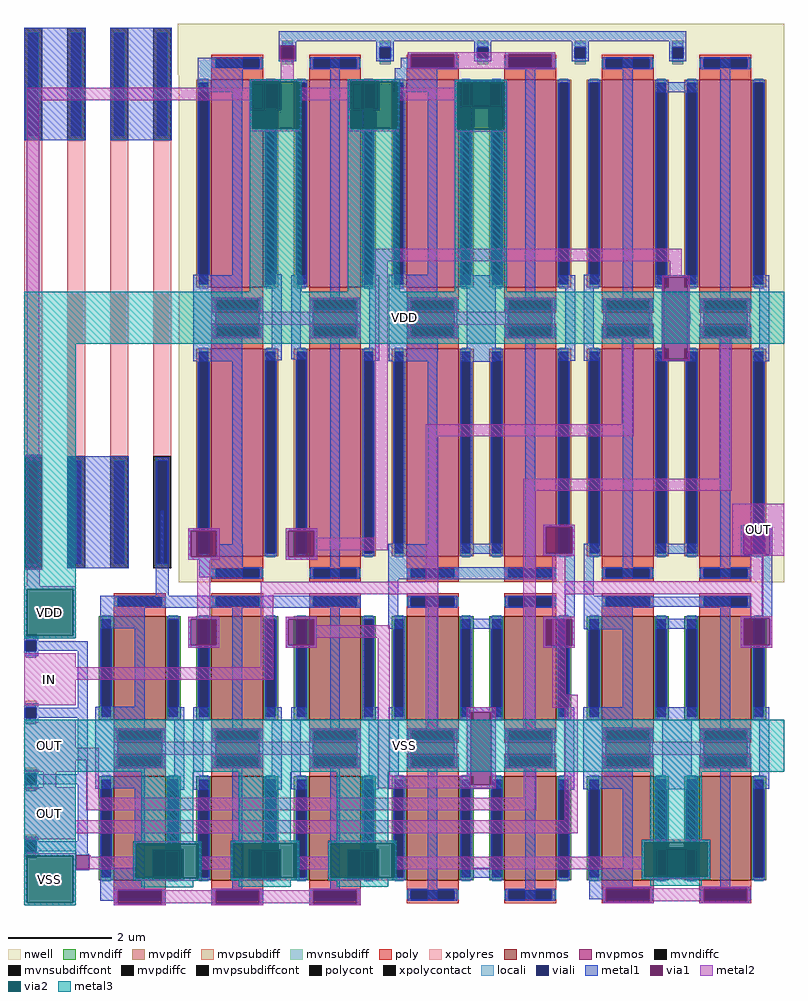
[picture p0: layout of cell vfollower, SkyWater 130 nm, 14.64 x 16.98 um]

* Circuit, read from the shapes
.subckt vfollower VDD OUT IN VSS
XM1 VSS n1 n1 VSS sky130_fd_pr__nfet_g5v0d10v5 w=2 l=1 m=2
XM2 VSS n1 n2 VSS sky130_fd_pr__nfet_g5v0d10v5 w=2 l=1 m=2
XM3 VSS n1 n3 VSS sky130_fd_pr__nfet_g5v0d10v5 w=2 l=1 m=2
XM4 n3 IN n4 VSS sky130_fd_pr__nfet_g5v0d10v5 w=2 l=1 m=2
XM5 OUT OUT n3 VSS sky130_fd_pr__nfet_g5v0d10v5 w=2 l=1 m=2
XM6 VSS n5 n5 VSS sky130_fd_pr__nfet_g5v0d10v5 w=2 l=1 m=2
XM7 OUT n5 VSS VSS sky130_fd_pr__nfet_g5v0d10v5 w=2 l=1 m=2
XM8 VDD n2 n2 VDD sky130_fd_pr__pfet_g5v0d10v5 w=4 l=1 m=2
XM9 VDD n2 n6 VDD sky130_fd_pr__pfet_g5v0d10v5 w=4 l=1 m=2
XM10 VDD n4 n4 VDD sky130_fd_pr__pfet_g5v0d10v5 w=4 l=1 m=2
XM11 OUT n4 VDD VDD sky130_fd_pr__pfet_g5v0d10v5 w=4 l=1 m=2
XM12 n6 IN n5 VDD sky130_fd_pr__pfet_g5v0d10v5 w=4 l=1 m=2
XM13 OUT OUT n6 VDD sky130_fd_pr__pfet_g5v0d10v5 w=4 l=1 m=2
XR14 n7 VDD VSS sky130_fd_pr__res_xhigh_po w=0.35 l=6.09
XR15 n7 n8 VSS sky130_fd_pr__res_xhigh_po w=0.35 l=6.09
XR16 n9 n8 VSS sky130_fd_pr__res_xhigh_po w=0.35 l=6.09
XR17 n9 n1 VSS sky130_fd_pr__res_xhigh_po w=0.35 l=6.09
.ends

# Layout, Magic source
magic
tech sky130A
magscale 1 2
<< metal2 >>
rect 3096 148 3296 348
rect 3166 107 3216 148
rect 3165 71 3216 107
rect 3165 51 3215 71
rect 368 20 568 30
rect 368 -160 378 20
rect 558 -160 568 20
rect 368 -170 568 -160
rect 2405 1 3215 51
rect 368 -428 568 -228
rect 2405 -387 2455 1
rect 2405 -437 2501 -387
rect 368 -684 568 -484
rect 443 -744 493 -684
rect 368 -862 568 -744
rect 368 -871 566 -862
rect 2451 -871 2501 -437
rect 368 -921 2501 -871
rect 368 -944 566 -921
rect 368 -1008 568 -998
rect 368 -1188 378 -1008
rect 558 -1188 568 -1008
rect 368 -1198 568 -1188
<< via2 >>
rect 378 -160 558 20
rect 378 -1188 558 -1008
<< metal3 >>
rect 368 966 3296 1166
rect 368 20 568 966
rect 368 -160 378 20
rect 558 -160 568 20
rect 368 -170 568 -160
rect 368 -684 3296 -484
rect 368 -1008 568 -684
rect 368 -1188 378 -1008
rect 558 -1188 568 -1008
rect 368 -1198 568 -1188
use opamp  opamp_0
transform 1 0 -2836 0 1 478
box 3204 -1676 6132 1720
<< labels >>
flabel metal2 368 -1198 568 -998 0 FreeSans 256 0 0 0 VSS
port 3 nsew
flabel metal2 368 -170 568 30 0 FreeSans 256 0 0 0 VDD
port 0 nsew
flabel metal2 368 -428 568 -228 0 FreeSans 256 0 0 0 IN
port 2 nsew
flabel metal2 3096 148 3296 348 0 FreeSans 256 0 0 0 OUT
port 1 nsew
flabel metal3 368 966 3296 1166 0 FreeSans 256 0 0 0 VDD
port 0 nsew
flabel metal2 368 -684 568 -484 0 FreeSans 256 0 0 0 OUT
port 1 nsew
flabel metal2 368 -944 568 -744 0 FreeSans 256 0 0 0 OUT
port 1 nsew
flabel metal3 368 -684 3296 -484 0 FreeSans 256 0 0 0 VSS
port 3 nsew
<< end >>

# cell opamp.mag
magic
tech sky130A
magscale 1 2
<< nwell >>
rect 3796 1524 6132 1720
rect 3800 -432 6132 1524
<< mvndiff >>
rect 5654 -606 5666 -562
<< mvpsubdiff >>
rect 3210 -656 3252 -632
rect 3210 -722 3252 -698
rect 3210 -913 3252 -889
rect 3210 -979 3252 -955
rect 3210 -1170 3252 -1146
rect 3210 -1236 3252 -1212
rect 3210 -1428 3252 -1404
rect 3210 -1494 3252 -1470
<< mvnsubdiff >>
rect 4198 1630 4240 1654
rect 4198 1564 4240 1588
rect 4574 1630 4616 1654
rect 4574 1564 4616 1588
rect 4950 1630 4992 1654
rect 4950 1564 4992 1588
rect 5326 1630 5368 1654
rect 5326 1564 5368 1588
rect 5702 1630 5744 1654
rect 5702 1564 5744 1588
<< mvpsubdiffcont >>
rect 3210 -698 3252 -656
rect 3210 -955 3252 -913
rect 3210 -1212 3252 -1170
rect 3210 -1470 3252 -1428
<< mvnsubdiffcont >>
rect 4198 1588 4240 1630
rect 4574 1588 4616 1630
rect 4950 1588 4992 1630
rect 5326 1588 5368 1630
rect 5702 1588 5744 1630
<< locali >>
rect 4198 1630 4240 1646
rect 4198 1572 4240 1588
rect 4574 1630 4616 1646
rect 4574 1572 4616 1588
rect 4950 1630 4992 1646
rect 4950 1572 4992 1588
rect 5326 1630 5368 1646
rect 5326 1572 5368 1588
rect 5702 1630 5744 1646
rect 5702 1572 5744 1588
rect 3210 -656 3252 -640
rect 3210 -714 3252 -698
rect 3210 -913 3252 -897
rect 3210 -971 3252 -955
rect 3210 -1170 3252 -1154
rect 3210 -1228 3252 -1212
rect 3210 -1428 3252 -1412
rect 3210 -1486 3252 -1470
<< viali >>
rect 4198 1588 4240 1630
rect 4574 1588 4616 1630
rect 4950 1588 4992 1630
rect 5326 1588 5368 1630
rect 5702 1588 5744 1630
rect 3210 -698 3252 -656
rect 3210 -955 3252 -913
rect 3210 -1212 3252 -1170
rect 3210 -1470 3252 -1428
<< metal1 >>
rect 3204 1272 3442 1704
rect 3536 1272 3774 1704
rect 4186 1653 5756 1691
rect 4186 1636 4252 1653
rect 3874 1458 4046 1590
rect 4186 1584 4193 1636
rect 4245 1584 4252 1636
rect 4562 1630 4628 1653
rect 4562 1588 4574 1630
rect 4616 1588 4628 1630
rect 4938 1630 5004 1653
rect 4682 1603 4874 1610
rect 4682 1590 4694 1603
rect 4186 1576 4252 1584
rect 4074 1500 4194 1506
rect 3857 752 3915 753
rect 4007 752 4045 1458
rect 4074 1392 4080 1500
rect 4188 1392 4194 1500
rect 4074 1386 4194 1392
rect 3857 664 4045 752
rect 4136 717 4197 755
rect 3857 658 4126 664
rect 3857 514 3942 658
rect 4110 514 4126 658
rect 3857 508 4126 514
rect 3857 420 4045 508
rect 4159 461 4197 717
rect 4139 423 4197 461
rect 4233 714 4292 752
rect 4233 465 4271 714
rect 4383 664 4421 1585
rect 4562 1576 4628 1588
rect 4656 1551 4694 1590
rect 4862 1551 4874 1603
rect 4938 1588 4950 1630
rect 4992 1588 5004 1630
rect 5314 1630 5380 1653
rect 4938 1576 5004 1588
rect 5058 1603 5250 1610
rect 4656 1548 4874 1551
rect 4632 1544 4874 1548
rect 5058 1551 5070 1603
rect 5238 1551 5250 1603
rect 5314 1588 5326 1630
rect 5368 1588 5380 1630
rect 5314 1576 5380 1588
rect 5690 1630 5756 1653
rect 5690 1588 5702 1630
rect 5744 1588 5756 1630
rect 5058 1544 5250 1551
rect 4452 1500 4572 1506
rect 4452 1392 4458 1500
rect 4566 1392 4572 1500
rect 4632 1458 4797 1544
rect 4452 1386 4572 1392
rect 4759 754 4797 1458
rect 4886 1498 5048 1504
rect 4886 1402 4892 1498
rect 5042 1402 5048 1498
rect 4886 1396 5048 1402
rect 4610 753 4797 754
rect 4512 714 4573 752
rect 4302 658 4502 664
rect 4302 514 4318 658
rect 4486 514 4502 658
rect 4302 508 4502 514
rect 4233 427 4291 465
rect 3857 419 3916 420
rect 3204 54 3274 60
rect 3370 -378 3608 54
rect 3731 -360 3743 -156
rect 3836 -234 3958 -224
rect 3836 -334 3846 -234
rect 3946 -286 3958 -234
rect 4007 -286 4045 420
rect 4212 -234 4334 -224
rect 3946 -334 4046 -286
rect 3836 -344 4046 -334
rect 4212 -334 4222 -234
rect 4322 -334 4334 -234
rect 4212 -344 4334 -334
rect 3204 -384 3274 -378
rect 3712 -484 3762 -360
rect 3880 -412 4046 -344
rect 4007 -415 4045 -412
rect 4383 -415 4421 508
rect 4535 459 4573 714
rect 4515 421 4573 459
rect 4609 664 4797 753
rect 4888 715 5044 752
rect 4888 714 5021 715
rect 4609 657 4874 664
rect 4609 515 4694 657
rect 4862 515 4874 657
rect 4609 508 4874 515
rect 4609 422 4798 508
rect 4909 459 5021 714
rect 5135 664 5173 1544
rect 5264 714 5327 752
rect 5058 657 5250 664
rect 5058 515 5070 657
rect 5238 515 5250 657
rect 5058 508 5250 515
rect 4909 457 5045 459
rect 4609 421 4797 422
rect 4610 420 4797 421
rect 4607 -286 4668 -284
rect 4759 -286 4797 420
rect 4885 421 5045 457
rect 4885 419 5020 421
rect 4910 418 5020 419
rect 4607 -374 4798 -286
rect 4888 -322 5041 -284
rect 5135 -374 5173 508
rect 5289 459 5327 714
rect 5265 421 5327 459
rect 5361 715 5420 753
rect 5361 459 5399 715
rect 5511 662 5549 1587
rect 5690 1576 5756 1588
rect 5640 1456 5795 1494
rect 5731 751 5796 752
rect 5637 744 5796 751
rect 5637 713 5668 744
rect 5436 657 5624 662
rect 5436 515 5446 657
rect 5614 515 5624 657
rect 5436 510 5624 515
rect 5361 421 5421 459
rect 5204 -218 5326 -210
rect 5204 -322 5214 -218
rect 5316 -322 5326 -218
rect 5204 -330 5326 -322
rect 4607 -420 5250 -374
rect 3498 -530 4502 -484
rect 3498 -608 3670 -530
rect 3204 -656 3258 -640
rect 3204 -698 3210 -656
rect 3252 -658 3258 -656
rect 3252 -696 3449 -658
rect 3252 -698 3258 -696
rect 3204 -716 3258 -698
rect 3212 -723 3250 -716
rect 3204 -913 3258 -897
rect 3204 -955 3210 -913
rect 3252 -915 3258 -913
rect 3411 -915 3449 -696
rect 3631 -912 3670 -608
rect 3836 -574 3956 -564
rect 3836 -674 3846 -574
rect 3946 -674 3956 -574
rect 3836 -684 3956 -674
rect 3480 -913 3670 -912
rect 3252 -953 3449 -915
rect 3252 -955 3258 -953
rect 3204 -973 3258 -955
rect 3212 -979 3250 -973
rect 3204 -1170 3258 -1154
rect 3204 -1212 3210 -1170
rect 3252 -1172 3258 -1170
rect 3411 -1172 3449 -953
rect 3252 -1210 3449 -1172
rect 3252 -1212 3258 -1210
rect 3204 -1230 3258 -1212
rect 3212 -1236 3250 -1230
rect 3204 -1428 3258 -1412
rect 3204 -1470 3210 -1428
rect 3252 -1430 3258 -1428
rect 3411 -1430 3449 -1210
rect 3479 -994 3670 -913
rect 3760 -951 3821 -913
rect 3479 -1000 3750 -994
rect 3479 -1142 3566 -1000
rect 3734 -1142 3750 -1000
rect 3479 -1148 3750 -1142
rect 3479 -1226 3670 -1148
rect 3783 -1193 3821 -951
rect 3479 -1228 3540 -1226
rect 3252 -1468 3449 -1430
rect 3252 -1470 3258 -1468
rect 3204 -1488 3258 -1470
rect 3404 -1478 3449 -1468
rect 3404 -1484 3456 -1478
rect 3212 -1494 3250 -1488
rect 3631 -1532 3670 -1226
rect 3761 -1231 3821 -1193
rect 3857 -952 3916 -914
rect 3857 -1193 3895 -952
rect 4007 -994 4045 -530
rect 4212 -574 4332 -564
rect 4212 -674 4222 -574
rect 4322 -674 4332 -574
rect 4212 -684 4332 -674
rect 4136 -952 4197 -914
rect 3926 -1000 4126 -994
rect 3926 -1142 3942 -1000
rect 4110 -1142 4126 -1000
rect 3926 -1148 4126 -1142
rect 3857 -1231 3917 -1193
rect 3404 -1542 3456 -1536
rect 3498 -1612 3670 -1532
rect 3698 -1466 3818 -1460
rect 3698 -1574 3704 -1466
rect 3812 -1574 3818 -1466
rect 3698 -1580 3818 -1574
rect 4007 -1612 4045 -1148
rect 4159 -1193 4197 -952
rect 4137 -1231 4197 -1193
rect 4233 -951 4292 -913
rect 4233 -1191 4271 -951
rect 4383 -994 4421 -530
rect 4607 -573 4645 -420
rect 4607 -611 4667 -573
rect 4512 -952 4571 -914
rect 4302 -1000 4502 -994
rect 4302 -1142 4318 -1000
rect 4486 -1142 4502 -1000
rect 4302 -1148 4502 -1142
rect 4233 -1229 4291 -1191
rect 4074 -1466 4194 -1460
rect 4074 -1574 4080 -1466
rect 4188 -1574 4194 -1466
rect 4074 -1580 4194 -1574
rect 4383 -1612 4421 -1148
rect 4533 -1191 4571 -952
rect 4513 -1229 4571 -1191
rect 4609 -951 4669 -913
rect 4609 -1190 4647 -951
rect 4759 -994 4797 -488
rect 4888 -610 5045 -572
rect 4888 -932 5044 -914
rect 4888 -952 4925 -932
rect 4682 -1000 4874 -994
rect 4682 -1142 4694 -1000
rect 4862 -1142 4874 -1000
rect 4682 -1148 4874 -1142
rect 4609 -1228 4668 -1190
rect 4450 -1466 4570 -1460
rect 4450 -1574 4456 -1466
rect 4564 -1574 4570 -1466
rect 4450 -1580 4570 -1574
rect 3498 -1618 3750 -1612
rect 3498 -1658 3566 -1618
rect 3550 -1670 3566 -1658
rect 3734 -1670 3750 -1618
rect 3550 -1676 3750 -1670
rect 3926 -1618 4126 -1612
rect 3926 -1670 3942 -1618
rect 4110 -1670 4126 -1618
rect 3926 -1676 4126 -1670
rect 4302 -1618 4502 -1612
rect 4302 -1670 4318 -1618
rect 4486 -1670 4502 -1618
rect 4759 -1653 4797 -1148
rect 4909 -1191 4925 -952
rect 4889 -1212 4925 -1191
rect 5005 -952 5044 -932
rect 5005 -1189 5021 -952
rect 5135 -994 5173 -489
rect 5288 -564 5326 -330
rect 5204 -574 5326 -564
rect 5204 -676 5214 -574
rect 5316 -676 5326 -574
rect 5361 -321 5420 -283
rect 5361 -484 5399 -321
rect 5511 -413 5549 510
rect 5661 458 5668 713
rect 5640 428 5668 458
rect 5762 714 5796 744
rect 5762 604 5769 714
rect 5887 657 5925 1583
rect 6016 714 6075 752
rect 5762 566 5771 604
rect 5762 457 5769 566
rect 5762 428 5791 457
rect 5640 420 5791 428
rect 5731 419 5791 420
rect 5640 -322 5795 -284
rect 5887 -415 5925 515
rect 6037 457 6075 714
rect 6017 419 6075 457
rect 5966 -220 6086 -212
rect 5966 -324 5976 -220
rect 6078 -324 6086 -220
rect 5966 -332 6086 -324
rect 5361 -488 5550 -484
rect 5361 -526 5927 -488
rect 5361 -611 5550 -526
rect 5640 -610 5795 -572
rect 5362 -612 5550 -611
rect 5204 -684 5326 -676
rect 5511 -914 5549 -612
rect 5264 -952 5323 -914
rect 5058 -1000 5250 -994
rect 5058 -1142 5070 -1000
rect 5238 -1142 5250 -1000
rect 5058 -1148 5250 -1142
rect 5005 -1212 5043 -1189
rect 4889 -1227 5043 -1212
rect 4889 -1228 5020 -1227
rect 4888 -1570 5043 -1532
rect 5135 -1654 5173 -1148
rect 5285 -1193 5323 -952
rect 5265 -1231 5323 -1193
rect 5359 -992 5549 -914
rect 5640 -952 5796 -914
rect 5359 -1000 5626 -992
rect 5359 -1142 5446 -1000
rect 5614 -1142 5626 -1000
rect 5359 -1148 5626 -1142
rect 5359 -1228 5549 -1148
rect 5663 -1191 5776 -952
rect 5887 -994 5925 -526
rect 6047 -562 6086 -332
rect 5966 -570 6086 -562
rect 5966 -674 5976 -570
rect 6078 -674 6086 -570
rect 5966 -684 6086 -674
rect 6016 -952 6075 -914
rect 5810 -1000 6002 -994
rect 5810 -1142 5822 -1000
rect 5990 -1142 6002 -1000
rect 5810 -1148 6002 -1142
rect 5663 -1193 5795 -1191
rect 5359 -1229 5419 -1228
rect 5382 -1534 5420 -1532
rect 5511 -1534 5549 -1228
rect 5643 -1229 5795 -1193
rect 5643 -1230 5776 -1229
rect 5636 -1460 5800 -1454
rect 5382 -1604 5550 -1534
rect 5636 -1568 5642 -1460
rect 5794 -1568 5800 -1460
rect 5636 -1574 5800 -1568
rect 5887 -1604 5925 -1148
rect 6037 -1189 6075 -952
rect 6017 -1227 6075 -1189
rect 5382 -1610 5620 -1604
rect 5382 -1653 5446 -1610
rect 5440 -1662 5446 -1653
rect 5614 -1662 5620 -1610
rect 5440 -1668 5620 -1662
rect 5816 -1610 5996 -1604
rect 5816 -1662 5822 -1610
rect 5990 -1662 5996 -1610
rect 5816 -1668 5996 -1662
rect 4302 -1676 4502 -1670
<< via1 >>
rect 4193 1630 4245 1636
rect 4193 1588 4198 1630
rect 4198 1588 4240 1630
rect 4240 1588 4245 1630
rect 4193 1584 4245 1588
rect 4080 1392 4188 1500
rect 3942 514 4110 658
rect 4694 1551 4862 1603
rect 5070 1551 5238 1603
rect 4458 1392 4566 1500
rect 4892 1402 5042 1498
rect 4318 514 4486 658
rect 3204 -378 3274 54
rect 3846 -334 3946 -234
rect 4222 -334 4322 -234
rect 4694 515 4862 657
rect 5070 515 5238 657
rect 5446 515 5614 657
rect 5214 -322 5316 -218
rect 3846 -674 3946 -574
rect 3566 -1142 3734 -1000
rect 3404 -1536 3456 -1484
rect 4222 -674 4322 -574
rect 3942 -1142 4110 -1000
rect 3704 -1574 3812 -1466
rect 4318 -1142 4486 -1000
rect 4080 -1574 4188 -1466
rect 4694 -1142 4862 -1000
rect 4456 -1574 4564 -1466
rect 3566 -1670 3734 -1618
rect 3942 -1670 4110 -1618
rect 4318 -1670 4486 -1618
rect 4925 -1212 5005 -932
rect 5214 -676 5316 -574
rect 5668 428 5762 744
rect 5822 515 5990 657
rect 5976 -324 6078 -220
rect 5070 -1142 5238 -1000
rect 5446 -1142 5614 -1000
rect 5976 -674 6078 -570
rect 5822 -1142 5990 -1000
rect 5642 -1568 5794 -1460
rect 5446 -1662 5614 -1610
rect 5822 -1662 5990 -1610
<< metal2 >>
rect 4187 1584 4193 1636
rect 4245 1584 4251 1636
rect 4682 1603 5250 1610
rect 4194 1506 4244 1584
rect 4682 1551 4694 1603
rect 4862 1551 5070 1603
rect 5238 1551 5250 1603
rect 4682 1546 5250 1551
rect 4074 1500 4274 1506
rect 4074 1474 4080 1500
rect 4188 1496 4274 1500
rect 3214 1426 4080 1474
rect 3214 60 3262 1426
rect 4074 1392 4080 1426
rect 4264 1474 4274 1496
rect 4452 1500 4652 1506
rect 4452 1474 4458 1500
rect 4566 1496 4652 1500
rect 4264 1426 4458 1474
rect 4074 1316 4084 1392
rect 4264 1316 4274 1426
rect 4074 1306 4274 1316
rect 4452 1392 4458 1426
rect 4642 1474 4652 1496
rect 4864 1498 5064 1504
rect 4864 1494 4892 1498
rect 5042 1494 5064 1498
rect 4864 1474 4874 1494
rect 4642 1426 4874 1474
rect 4452 1316 4462 1392
rect 4642 1316 4652 1426
rect 4452 1306 4652 1316
rect 4864 1314 4874 1426
rect 5054 1314 5064 1494
rect 4864 1304 5064 1314
rect 4558 806 5739 854
rect 3926 658 4126 664
rect 3926 514 3942 658
rect 4110 611 4126 658
rect 4302 658 4502 664
rect 4302 611 4318 658
rect 4110 561 4318 611
rect 4110 514 4126 561
rect 3926 508 4126 514
rect 4302 514 4318 561
rect 4486 514 4502 658
rect 4302 508 4502 514
rect 3204 54 3274 60
rect 3836 -234 3958 -224
rect 3836 -334 3846 -234
rect 3946 -334 3958 -234
rect 3836 -344 3958 -334
rect 4212 -234 4334 -224
rect 4212 -334 4222 -234
rect 4322 -260 4334 -234
rect 4558 -260 4606 806
rect 5691 750 5739 806
rect 5662 744 5768 750
rect 4682 657 4874 664
rect 4682 515 4694 657
rect 4862 611 4874 657
rect 5058 657 5250 664
rect 5058 611 5070 657
rect 4862 561 5070 611
rect 4862 515 4874 561
rect 4682 508 4874 515
rect 5058 515 5070 561
rect 5238 515 5250 657
rect 5058 508 5250 515
rect 5436 657 5624 662
rect 5436 515 5446 657
rect 5614 515 5624 657
rect 5436 510 5624 515
rect 5506 178 5554 510
rect 5662 428 5668 744
rect 5762 428 5768 744
rect 5810 657 6002 662
rect 5810 515 5822 657
rect 5990 515 6002 657
rect 5810 510 6002 515
rect 5662 422 5768 428
rect 4322 -308 4606 -260
rect 4752 130 5554 178
rect 4322 -334 4334 -308
rect 4212 -344 4334 -334
rect 3204 -384 3274 -378
rect 3214 -448 3264 -384
rect 3204 -458 3404 -448
rect 3204 -638 3214 -458
rect 3394 -638 3404 -458
rect 3871 -564 3921 -344
rect 4752 -430 4800 130
rect 5882 -32 5930 510
rect 4116 -478 4800 -430
rect 3204 -648 3404 -638
rect 3836 -574 3956 -564
rect 3836 -674 3846 -574
rect 3946 -674 3956 -574
rect 3836 -684 3956 -674
rect 3204 -760 3404 -706
rect 4116 -760 4164 -478
rect 4212 -574 4332 -564
rect 4212 -674 4222 -574
rect 4322 -598 4332 -574
rect 4322 -646 4614 -598
rect 4322 -674 4332 -646
rect 4212 -684 4332 -674
rect 3204 -808 4164 -760
rect 3204 -906 3404 -808
rect 3204 -1070 3404 -962
rect 3550 -1000 3750 -994
rect 3204 -1118 3492 -1070
rect 3204 -1162 3404 -1118
rect 3204 -1349 3404 -1222
rect 3444 -1262 3492 -1118
rect 3550 -1142 3566 -1000
rect 3734 -1046 3750 -1000
rect 3926 -1000 4126 -994
rect 3926 -1046 3942 -1000
rect 3734 -1096 3942 -1046
rect 3734 -1142 3750 -1096
rect 3550 -1148 3750 -1142
rect 3926 -1142 3942 -1096
rect 4110 -1046 4126 -1000
rect 4302 -1000 4502 -994
rect 4302 -1046 4318 -1000
rect 4110 -1096 4318 -1046
rect 4110 -1142 4126 -1096
rect 3926 -1148 4126 -1142
rect 4302 -1142 4318 -1096
rect 4486 -1142 4502 -1000
rect 4302 -1148 4502 -1142
rect 4566 -1178 4614 -646
rect 4752 -994 4800 -478
rect 5128 -80 5930 -32
rect 4909 -932 5021 -914
rect 4682 -1000 4874 -994
rect 4682 -1142 4694 -1000
rect 4862 -1142 4874 -1000
rect 4682 -1148 4874 -1142
rect 4909 -1178 4925 -932
rect 4566 -1212 4925 -1178
rect 5005 -1212 5021 -932
rect 5128 -994 5176 -80
rect 5204 -218 5326 -210
rect 5204 -322 5214 -218
rect 5316 -322 5326 -218
rect 5204 -330 5326 -322
rect 5932 -220 6132 -130
rect 5932 -324 5976 -220
rect 6078 -324 6132 -220
rect 5932 -330 6132 -324
rect 5240 -427 5290 -330
rect 6002 -427 6052 -330
rect 5240 -477 6052 -427
rect 5240 -564 5290 -477
rect 6002 -562 6052 -477
rect 5204 -574 5326 -564
rect 5204 -676 5214 -574
rect 5316 -676 5326 -574
rect 5204 -684 5326 -676
rect 5966 -570 6086 -562
rect 5966 -674 5976 -570
rect 6078 -674 6086 -570
rect 5966 -684 6086 -674
rect 5240 -865 5290 -684
rect 5240 -915 5337 -865
rect 5058 -1000 5250 -994
rect 5058 -1142 5070 -1000
rect 5238 -1142 5250 -1000
rect 5058 -1148 5250 -1142
rect 4566 -1226 5021 -1212
rect 5130 -1262 5178 -1148
rect 3444 -1310 5178 -1262
rect 5287 -1349 5337 -915
rect 5432 -1000 5626 -992
rect 5432 -1142 5446 -1000
rect 5614 -1046 5626 -1000
rect 5810 -1000 6002 -994
rect 5810 -1046 5822 -1000
rect 5614 -1096 5822 -1046
rect 5614 -1142 5626 -1096
rect 5432 -1148 5626 -1142
rect 5810 -1142 5822 -1096
rect 5990 -1142 6002 -1000
rect 5810 -1148 6002 -1142
rect 3204 -1399 5337 -1349
rect 3204 -1422 3404 -1399
rect 3624 -1440 3888 -1430
rect 3204 -1486 3404 -1476
rect 3204 -1666 3214 -1486
rect 3394 -1536 3404 -1486
rect 3456 -1490 3462 -1484
rect 3624 -1490 3634 -1440
rect 3456 -1536 3634 -1490
rect 3394 -1538 3634 -1536
rect 3394 -1666 3404 -1538
rect 3624 -1572 3634 -1538
rect 3878 -1490 3888 -1440
rect 4000 -1438 4264 -1428
rect 4000 -1490 4010 -1438
rect 3878 -1538 4010 -1490
rect 3878 -1572 3888 -1538
rect 3624 -1574 3704 -1572
rect 3812 -1574 3888 -1572
rect 3624 -1582 3888 -1574
rect 4000 -1570 4010 -1538
rect 4254 -1490 4264 -1438
rect 4376 -1438 4640 -1428
rect 4376 -1490 4386 -1438
rect 4254 -1538 4386 -1490
rect 4254 -1570 4264 -1538
rect 4000 -1574 4080 -1570
rect 4188 -1574 4264 -1570
rect 4000 -1580 4264 -1574
rect 4376 -1570 4386 -1538
rect 4630 -1490 4640 -1438
rect 5584 -1434 5848 -1424
rect 5584 -1490 5594 -1434
rect 4630 -1538 5594 -1490
rect 4630 -1570 4640 -1538
rect 4376 -1574 4456 -1570
rect 4564 -1574 4640 -1570
rect 4376 -1580 4640 -1574
rect 5584 -1566 5594 -1538
rect 5838 -1566 5848 -1434
rect 5584 -1568 5642 -1566
rect 5794 -1568 5848 -1566
rect 5584 -1576 5848 -1568
rect 5434 -1610 5630 -1604
rect 5806 -1610 6004 -1604
rect 3204 -1676 3404 -1666
rect 3550 -1618 3750 -1612
rect 3550 -1670 3566 -1618
rect 3734 -1619 3750 -1618
rect 3926 -1618 4126 -1612
rect 3926 -1619 3942 -1618
rect 3734 -1669 3942 -1619
rect 3734 -1670 3750 -1669
rect 3550 -1676 3750 -1670
rect 3926 -1670 3942 -1669
rect 4110 -1619 4126 -1618
rect 4302 -1618 4502 -1612
rect 4302 -1619 4318 -1618
rect 4110 -1669 4318 -1619
rect 4110 -1670 4126 -1669
rect 3926 -1676 4126 -1670
rect 4302 -1670 4318 -1669
rect 4486 -1670 4502 -1618
rect 5434 -1662 5446 -1610
rect 5614 -1660 5822 -1610
rect 5614 -1662 5630 -1660
rect 5434 -1668 5630 -1662
rect 5806 -1662 5822 -1660
rect 5990 -1662 6004 -1610
rect 5806 -1668 6004 -1662
rect 4302 -1676 4502 -1670
<< via2 >>
rect 4084 1392 4188 1496
rect 4188 1392 4264 1496
rect 4084 1316 4264 1392
rect 4462 1392 4566 1496
rect 4566 1392 4642 1496
rect 4462 1316 4642 1392
rect 4874 1402 4892 1494
rect 4892 1402 5042 1494
rect 5042 1402 5054 1494
rect 4874 1314 5054 1402
rect 3214 -638 3394 -458
rect 3214 -1666 3394 -1486
rect 3634 -1466 3878 -1440
rect 3634 -1572 3704 -1466
rect 3704 -1572 3812 -1466
rect 3812 -1572 3878 -1466
rect 4010 -1466 4254 -1438
rect 4010 -1570 4080 -1466
rect 4080 -1570 4188 -1466
rect 4188 -1570 4254 -1466
rect 4386 -1466 4630 -1438
rect 4386 -1570 4456 -1466
rect 4456 -1570 4564 -1466
rect 4564 -1570 4630 -1466
rect 5594 -1460 5838 -1434
rect 5594 -1566 5642 -1460
rect 5642 -1566 5794 -1460
rect 5794 -1566 5838 -1460
<< metal3 >>
rect 4074 1496 4274 1506
rect 4074 1316 4084 1496
rect 4264 1316 4274 1496
rect 4074 688 4274 1316
rect 4452 1496 4652 1506
rect 4452 1316 4462 1496
rect 4642 1316 4652 1496
rect 4452 688 4652 1316
rect 4864 1494 5064 1504
rect 4864 1314 4874 1494
rect 5054 1314 5064 1494
rect 4864 688 5064 1314
rect 3856 488 6074 688
rect 3204 -458 3404 -448
rect 3204 -638 3214 -458
rect 3394 -638 3404 -458
rect 3204 -648 3404 -638
rect 3480 -1162 6074 -962
rect 3656 -1430 3856 -1162
rect 4032 -1428 4232 -1162
rect 4408 -1428 4608 -1162
rect 5616 -1424 5816 -1162
rect 3624 -1440 3888 -1430
rect 3204 -1486 3404 -1476
rect 3204 -1666 3214 -1486
rect 3394 -1666 3404 -1486
rect 3624 -1572 3634 -1440
rect 3878 -1572 3888 -1440
rect 3624 -1582 3888 -1572
rect 4000 -1438 4264 -1428
rect 4000 -1570 4010 -1438
rect 4254 -1570 4264 -1438
rect 4000 -1580 4264 -1570
rect 4376 -1438 4640 -1428
rect 4376 -1570 4386 -1438
rect 4630 -1570 4640 -1438
rect 4376 -1580 4640 -1570
rect 5584 -1434 5848 -1424
rect 5584 -1566 5594 -1434
rect 5838 -1566 5848 -1434
rect 5584 -1576 5848 -1566
rect 3656 -1606 3856 -1582
rect 4032 -1604 4232 -1580
rect 4408 -1604 4608 -1580
rect 5616 -1600 5816 -1576
rect 3204 -1676 3404 -1666
use sky130_fd_pr__nfet_g5v0d10v5_H94GUP  sky130_fd_pr__nfet_g5v0d10v5_H94GUP_0 cells
transform 1 0 5906 0 1 -1071
box -158 -597 158 597
use sky130_fd_pr__nfet_g5v0d10v5_H94GUP  sky130_fd_pr__nfet_g5v0d10v5_H94GUP_1
transform 1 0 3650 0 1 -1071
box -158 -597 158 597
use sky130_fd_pr__nfet_g5v0d10v5_H94GUP  sky130_fd_pr__nfet_g5v0d10v5_H94GUP_2
transform 1 0 4026 0 1 -1071
box -158 -597 158 597
use sky130_fd_pr__nfet_g5v0d10v5_H94GUP  sky130_fd_pr__nfet_g5v0d10v5_H94GUP_3
transform 1 0 4402 0 1 -1071
box -158 -597 158 597
use sky130_fd_pr__nfet_g5v0d10v5_H94GUP  sky130_fd_pr__nfet_g5v0d10v5_H94GUP_4
transform 1 0 4778 0 1 -1071
box -158 -597 158 597
use sky130_fd_pr__nfet_g5v0d10v5_H94GUP  sky130_fd_pr__nfet_g5v0d10v5_H94GUP_5
transform 1 0 5154 0 1 -1071
box -158 -597 158 597
use sky130_fd_pr__nfet_g5v0d10v5_H94GUP  sky130_fd_pr__nfet_g5v0d10v5_H94GUP_6
transform 1 0 5530 0 1 -1071
box -158 -597 158 597
use sky130_fd_pr__pfet_g5v0d10v5_EFU7LQ  sky130_fd_pr__pfet_g5v0d10v5_EFU7LQ_0 cells
transform 1 0 4778 0 1 586
box -224 -1018 224 1018
use sky130_fd_pr__pfet_g5v0d10v5_EFU7LQ  sky130_fd_pr__pfet_g5v0d10v5_EFU7LQ_1
transform 1 0 4026 0 1 586
box -224 -1018 224 1018
use sky130_fd_pr__pfet_g5v0d10v5_EFU7LQ  sky130_fd_pr__pfet_g5v0d10v5_EFU7LQ_2
transform 1 0 4402 0 1 586
box -224 -1018 224 1018
use sky130_fd_pr__pfet_g5v0d10v5_EFU7LQ  sky130_fd_pr__pfet_g5v0d10v5_EFU7LQ_3
transform 1 0 5530 0 1 586
box -224 -1018 224 1018
use sky130_fd_pr__pfet_g5v0d10v5_EFU7LQ  sky130_fd_pr__pfet_g5v0d10v5_EFU7LQ_4
transform 1 0 5154 0 1 586
box -224 -1018 224 1018
use sky130_fd_pr__pfet_g5v0d10v5_EFU7LQ  sky130_fd_pr__pfet_g5v0d10v5_EFU7LQ_5
transform 1 0 5906 0 1 586
box -224 -1018 224 1018
use sky130_fd_pr__res_xhigh_po_0p35_MDZYBC  sky130_fd_pr__res_xhigh_po_0p35_MDZYBC_0 cells
transform 1 0 3488 0 -1 663
box -284 -1041 284 1041
<< labels >>
flabel metal2 5932 -330 6132 -130 0 FreeSans 256 0 0 0 OUT
port 1 nsew
flabel metal3 3204 -648 3404 -448 0 FreeSans 256 0 0 0 VDD
port 0 nsew
flabel metal2 3204 -906 3404 -706 0 FreeSans 256 0 0 0 P
port 2 nsew
flabel metal2 3204 -1162 3404 -962 0 FreeSans 256 0 0 0 N
port 3 nsew
flabel metal2 3204 -1422 3404 -1222 0 FreeSans 256 0 0 0 OUT
port 1 nsew
flabel metal3 4864 1304 5064 1504 0 FreeSans 256 0 0 0 VDD
port 0 nsew
flabel metal3 3624 -1582 3888 -1430 0 FreeSans 256 0 0 0 VSS
port 4 nsew
flabel metal3 4000 -1580 4264 -1428 0 FreeSans 256 0 0 0 VSS
port 4 nsew
flabel metal3 4376 -1580 4640 -1428 0 FreeSans 256 0 0 0 VSS
port 4 nsew
flabel metal3 5584 -1576 5848 -1424 0 FreeSans 256 0 0 0 VSS
port 4 nsew
flabel metal3 3856 488 6074 688 0 FreeSans 256 0 0 0 VDD
port 0 nsew
flabel metal3 3480 -1162 6074 -962 0 FreeSans 256 0 0 0 VSS
port 4 nsew
flabel metal3 4452 1306 4652 1506 0 FreeSans 256 0 0 0 VDD
port 0 nsew
flabel metal3 4074 1306 4274 1506 0 FreeSans 256 0 0 0 VDD
port 0 nsew
flabel metal3 3204 -1676 3404 -1476 0 FreeSans 256 0 0 0 VSS
port 4 nsew
<< end >>

# cell sky130_fd_pr__nfet_g5v0d10v5_H94GUP: kit device sky130_fd_pr__nfet_g5v0d10v5, w 2 l 1 m 2 nf 1 diffcov 100 polycov 100 guard 0 glc 1 grc 1 gtc 1 gbc 1 tbcov 100 rlcov 100 topc 1 botc 1 poverlap 0 doverlap 1 lmin 0.50 wmin 0.42 compatible {sky130_fd_pr__nfet_01v8 sky130_fd_pr__nfet_01v8_lvt sky130_fd_bs_flash__special_sonosfet_star sky130_fd_pr__nfet_g5v0d10v5 sky130_fd_pr__nfet_05v0_nvt sky130_fd_pr__nfet_03v3_nvt} full_metal 1 viasrc 100 viadrn 100 viagate 100 viagb 0 viagr 0 viagl 0 viagt 0

# cell sky130_fd_pr__pfet_g5v0d10v5_EFU7LQ: kit device sky130_fd_pr__pfet_g5v0d10v5, w 4 l 1 m 2 nf 1 diffcov 100 polycov 100 guard 0 glc 1 grc 1 gtc 1 gbc 1 tbcov 100 rlcov 100 topc 1 botc 1 poverlap 0 doverlap 1 lmin 0.50 wmin 0.42 compatible {sky130_fd_pr__pfet_01v8 sky130_fd_pr__pfet_01v8_lvt sky130_fd_pr__pfet_01v8_hvt sky130_fd_pr__pfet_g5v0d10v5} full_metal 1 viasrc 100 viadrn 100 viagate 100 viagb 0 viagr 0 viagl 0 viagt 0

# cell sky130_fd_pr__res_xhigh_po_0p35_MDZYBC: kit device sky130_fd_pr__res_xhigh_po_0p35, w 0.35 l 6.25 m 1 nx 4 wmin 0.350 lmin 0.50 rho 2000 val 36.789k dummy 0 dw 0.0 term 188.2 sterm 0.0 caplen 0 wmax 0.350 guard 0 glc 1 grc 1 gtc 1 gbc 1 compatible {sky130_fd_pr__res_xhigh_po_0p35 sky130_fd_pr__res_xhigh_po_0p69 sky130_fd_pr__res_xhigh_po_1p41 sky130_fd_pr__res_xhigh_po_2p85 sky130_fd_pr__res_xhigh_po_5p73} snake 0 full_metal 1 n_guard 0 hv_guard 0 vias 1 viagb 0 viagt 0 viagl 0 viagr 0
